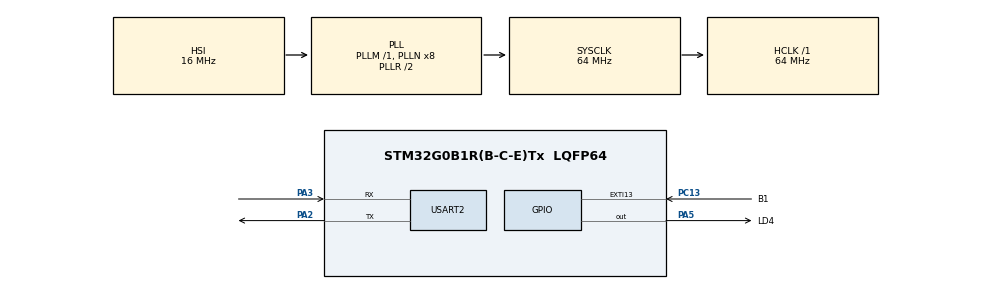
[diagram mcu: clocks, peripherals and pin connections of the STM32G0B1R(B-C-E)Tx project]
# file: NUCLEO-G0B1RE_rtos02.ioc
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Mcu.Family=STM32G0
Mcu.Name=STM32G0B1R(B-C-E)Tx
Mcu.Package=LQFP64
PA2.Mode=Asynchronous
PA2.Signal=USART2_TX
PA3.Mode=Asynchronous
PA3.Signal=USART2_RX
PA5.GPIO_Label=LD4
PA5.GPIO_Speed=GPIO_SPEED_FREQ_HIGH
PA5.Signal=GPIO_Output
PC13.GPIO_Label=B1
PC13.Signal=GPXTI13
PC14-OSC32_IN\ (PC14).Mode=LSE-External-Oscillator
PC14-OSC32_IN\ (PC14).Signal=RCC_OSC32_IN
PC15-OSC32_OUT\ (PC15).Mode=LSE-External-Oscillator
PC15-OSC32_OUT\ (PC15).Signal=RCC_OSC32_OUT
ProjectManager.HeapSize=0x200
ProjectManager.StackSize=0x400
ProjectManager.TargetToolchain=STM32CubeIDE
RCC.ADCFreq_Value=64000000
RCC.AHBFreq_Value=64000000
RCC.CortexFreq_Value=64000000
RCC.EXTERNAL_CLOCK_VALUE=12288000
RCC.HCLKFreq_Value=64000000
RCC.HSE_VALUE=8000000
RCC.HSI48_VALUE=48000000
RCC.HSI_VALUE=16000000
RCC.SYSCLKFreq_VALUE=64000000
RCC.SYSCLKSource=RCC_SYSCLKSOURCE_PLLCLK
RCC.USBFreq_Value=48000000
RCC.VCOOutputFreq_Value=128000000
USART2.VirtualMode-Asynchronous=VM_ASYNC
VP_SYS_VS_DBSignals.Mode=DisableDeadBatterySignals
board=NUCLEO-G0B1RE

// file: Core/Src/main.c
/* USER CODE BEGIN Header */
/**
  ******************************************************************************
  * @file           : main.c
  * @brief          : Main program body
  ******************************************************************************
  * @attention
  *
  * Copyright (c) 2024 STMicroelectronics.
  * All rights reserved.
  *
  * This software is licensed under terms that can be found in the LICENSE file
  * in the root directory of this software component.
  * If no LICENSE file comes with this software, it is provided AS-IS.
  *
  ******************************************************************************
  */
/* USER CODE END Header */
#include "main.h"

/* USER CODE BEGIN Includes */
#include "printf.h"
#include "rtos.h"
/* USER CODE END Includes */

UART_HandleTypeDef huart2;

void SystemClock_Config(void);
static void MX_GPIO_Init(void);
static void MX_USART2_UART_Init(void);

/* USER CODE BEGIN 0 */

/* ユーザスレッド */
static int test(int argc, char *argv[])
{
	while (1) {
		printf("Hello\n");
	}
	return 0;
}

static int demo(int argc, char *argv[])
{
	while (1) {
		printf("Money\n");
	}
	return 0;
}

static int proto(int argc, char *argv[])
{
	while (1) {
		printf("Gold\n");
	}
	return 0;
}

/* USER CODE END 0 */

int main(void)
{

  /* MCU Configuration--------------------------------------------------------*/

  /* Reset of all peripherals, Initializes the Flash interface and the Systick. */
  HAL_Init();

  /* Configure the system clock */
  SystemClock_Config();

  /* Initialize all configured peripherals */
  MX_GPIO_Init();
  MX_USART2_UART_Init();
  /* USER CODE BEGIN 2 */
	printf("main boot succeed!\n");

	__enable_irq(); // enable interrupt

	RtosInit();
	RtosThreadCreate((rtos_func_t)test, "test", 0, 0x100, 0, NULL);
	RtosThreadCreate((rtos_func_t)demo, "demo", 3, 0x100, 0, NULL);
	RtosThreadCreate((rtos_func_t)proto, "proto", 6, 0x100, 0, NULL);

	/* OSの動作開始 */
	RtosStart();
	/* ここには戻ってこない */

  /* USER CODE END 2 */

  /* Infinite loop */
	while (1) {

    /* USER CODE BEGIN 3 */
		HAL_GPIO_TogglePin(LD4_GPIO_Port, LD4_Pin);
		if (HAL_UART_Transmit(&huart2, (uint8_t *)"Test Uart.\r\n", 12, 10) != HAL_OK) {
			Error_Handler();
		}
		HAL_Delay(1000);
	}
  /* USER CODE END 3 */
}

void SystemClock_Config(void)
{
  RCC_OscInitTypeDef RCC_OscInitStruct = {0};
  RCC_ClkInitTypeDef RCC_ClkInitStruct = {0};

  /** Configure the main internal regulator output voltage
  */
  HAL_PWREx_ControlVoltageScaling(PWR_REGULATOR_VOLTAGE_SCALE1);

  /** Initializes the RCC Oscillators according to the specified parameters
  * in the RCC_OscInitTypeDef structure.
  */
  RCC_OscInitStruct.OscillatorType = RCC_OSCILLATORTYPE_HSI;
  RCC_OscInitStruct.HSIState = RCC_HSI_ON;
  RCC_OscInitStruct.HSIDiv = RCC_HSI_DIV1;
  RCC_OscInitStruct.HSICalibrationValue = RCC_HSICALIBRATION_DEFAULT;
  RCC_OscInitStruct.PLL.PLLState = RCC_PLL_ON;
  RCC_OscInitStruct.PLL.PLLSource = RCC_PLLSOURCE_HSI;
  RCC_OscInitStruct.PLL.PLLM = RCC_PLLM_DIV1;
  RCC_OscInitStruct.PLL.PLLN = 8;
  RCC_OscInitStruct.PLL.PLLP = RCC_PLLP_DIV2;
  RCC_OscInitStruct.PLL.PLLQ = RCC_PLLQ_DIV2;
  RCC_OscInitStruct.PLL.PLLR = RCC_PLLR_DIV2;
  if (HAL_RCC_OscConfig(&RCC_OscInitStruct) != HAL_OK)
  {
    Error_Handler();
  }

  /** Initializes the CPU, AHB and APB buses clocks
  */
  RCC_ClkInitStruct.ClockType = RCC_CLOCKTYPE_HCLK|RCC_CLOCKTYPE_SYSCLK
                              |RCC_CLOCKTYPE_PCLK1;
  RCC_ClkInitStruct.SYSCLKSource = RCC_SYSCLKSOURCE_PLLCLK;
  RCC_ClkInitStruct.AHBCLKDivider = RCC_SYSCLK_DIV1;
  RCC_ClkInitStruct.APB1CLKDivider = RCC_HCLK_DIV1;

  if (HAL_RCC_ClockConfig(&RCC_ClkInitStruct, FLASH_LATENCY_2) != HAL_OK)
  {
    Error_Handler();
  }
}

static void MX_USART2_UART_Init(void)
{

  huart2.Instance = USART2;
  huart2.Init.BaudRate = 115200;
  huart2.Init.WordLength = UART_WORDLENGTH_8B;
  huart2.Init.StopBits = UART_STOPBITS_1;
  huart2.Init.Parity = UART_PARITY_NONE;
  huart2.Init.Mode = UART_MODE_TX_RX;
  huart2.Init.HwFlowCtl = UART_HWCONTROL_NONE;
  huart2.Init.OverSampling = UART_OVERSAMPLING_16;
  huart2.Init.OneBitSampling = UART_ONE_BIT_SAMPLE_DISABLE;
  huart2.Init.ClockPrescaler = UART_PRESCALER_DIV1;
  huart2.AdvancedInit.AdvFeatureInit = UART_ADVFEATURE_NO_INIT;
  if (HAL_UART_Init(&huart2) != HAL_OK)
  {
    Error_Handler();
  }
  if (HAL_UARTEx_SetTxFifoThreshold(&huart2, UART_TXFIFO_THRESHOLD_1_8) != HAL_OK)
  {
    Error_Handler();
  }
  if (HAL_UARTEx_SetRxFifoThreshold(&huart2, UART_RXFIFO_THRESHOLD_1_8) != HAL_OK)
  {
    Error_Handler();
  }
  if (HAL_UARTEx_DisableFifoMode(&huart2) != HAL_OK)
  {
    Error_Handler();
  }

}

static void MX_GPIO_Init(void)
{
  GPIO_InitTypeDef GPIO_InitStruct = {0};

  /* GPIO Ports Clock Enable */
  __HAL_RCC_GPIOC_CLK_ENABLE();
  __HAL_RCC_GPIOA_CLK_ENABLE();

  /*Configure GPIO pin Output Level */
  HAL_GPIO_WritePin(LD4_GPIO_Port, LD4_Pin, GPIO_PIN_RESET);

  /*Configure GPIO pin : B1_Pin */
  GPIO_InitStruct.Pin = B1_Pin;
  GPIO_InitStruct.Mode = GPIO_MODE_IT_RISING;
  GPIO_InitStruct.Pull = GPIO_NOPULL;
  HAL_GPIO_Init(B1_GPIO_Port, &GPIO_InitStruct);

  /*Configure GPIO pin : LD4_Pin */
  GPIO_InitStruct.Pin = LD4_Pin;
  GPIO_InitStruct.Mode = GPIO_MODE_OUTPUT_PP;
  GPIO_InitStruct.Pull = GPIO_NOPULL;
  GPIO_InitStruct.Speed = GPIO_SPEED_FREQ_HIGH;
  HAL_GPIO_Init(LD4_GPIO_Port, &GPIO_InitStruct);

}

void Error_Handler(void)
{
  __disable_irq();
  while (1)
  {
  }
}
